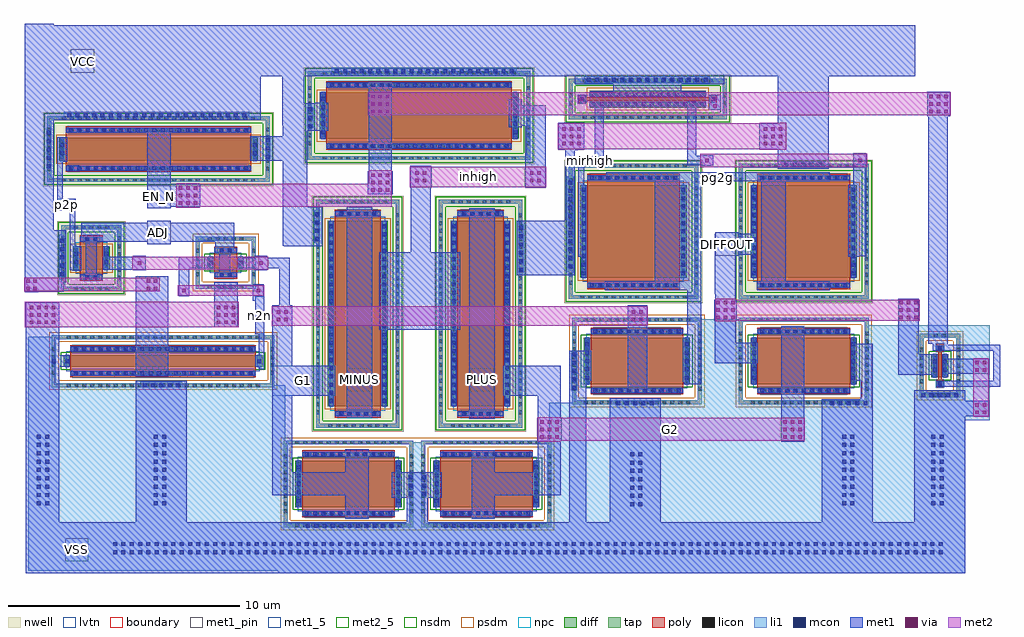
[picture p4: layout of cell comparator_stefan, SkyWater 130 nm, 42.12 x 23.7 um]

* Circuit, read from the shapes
.subckt comparator_stefan ADJ DIFFOUT EN_N G1 G2 MINUS PLUS VCC VSS inhigh mirhigh n2n p2p pg2g
XM1 n2n VCC VSS VSS sky130_fd_pr__nfet_01v8_lvt w=0.5 l=8
XM2 G1 ADJ n2n VSS sky130_fd_pr__nfet_01v8_lvt w=0.5 l=1
XM3 VSS G1 G1 VSS sky130_fd_pr__nfet_01v8_lvt w=2 l=4
XM4 G2 G2 VSS VSS sky130_fd_pr__nfet_01v8_lvt w=2 l=4
XM5 pg2g G1 VSS VSS sky130_fd_pr__nfet_01v8_lvt w=2 l=4
XM6 VSS G2 DIFFOUT VSS sky130_fd_pr__nfet_01v8_lvt w=2 l=4
XM7 VSS EN_N DIFFOUT VSS sky130_fd_pr__nfet_01v8 w=1 l=0.15
XM8 VCC EN_N p2p VCC sky130_fd_pr__pfet_01v8 w=1 l=8
XM9 G1 ADJ p2p VCC sky130_fd_pr__pfet_01v8_lvt w=1 l=1
XM10 inhigh EN_N VCC VCC sky130_fd_pr__pfet_01v8 w=2 l=8
XM11 inhigh MINUS G1 VCC sky130_fd_pr__pfet_01v8_lvt w=8 l=2
XM12 G2 PLUS inhigh VCC sky130_fd_pr__pfet_01v8_lvt w=8 l=2
XM13 pg2g pg2g mirhigh VCC sky130_fd_pr__pfet_01v8_lvt w=4 l=4
XM14 VCC EN_N mirhigh VCC sky130_fd_pr__pfet_01v8 w=5 l=0.15
XM15 mirhigh pg2g DIFFOUT VCC sky130_fd_pr__pfet_01v8_lvt w=4 l=4
.ends

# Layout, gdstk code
from math import pi, radians
import gdstk
lib = gdstk.Library(unit=1e-6, precision=1e-09)
def R(c, l, rs):  # rectangles x0, y0, x1, y1
    for r in rs: c.add(gdstk.rectangle(r[:2], r[2:], *l))
def A(c, l, x, y, w, h, nx, ny, dx, dy):  # array of equal rectangles
    R(c, l, [(x+i*dx, y+j*dy, x+i*dx+w, y+j*dy+h) for i in range(nx) for j in range(ny)])
nwell = (64, 20)
diff = (65, 20)
tap = (65, 44)
poly = (66, 20)
licon = (66, 44)
li1 = (67, 20)
mcon = (67, 44)
met1_5 = (68, 5)
met1_pin = (68, 16)
met1 = (68, 20)
via = (68, 44)
met2_5 = (69, 5)
met2 = (69, 20)
nsdm = (93, 44)
psdm = (94, 20)
npc = (95, 20)
lvtn = (125, 44)
boundary = (235, 4)

sky130_fd_pr__nfet_01v8_ = lib.new_cell('sky130_fd_pr__nfet_01v8_lvt_FMHZDY')
R(sky130_fd_pr__nfet_01v8_, diff, [(-4.29,-0.25,4.29,0.25)])
R(sky130_fd_pr__nfet_01v8_, tap, [(-4.8,-1.12,4.8,-0.95), (-4.8,-0.95,-4.63,0.95), (4.63,-0.95,4.8,0.95), (-4.8,0.95,4.8,1.12)])
R(sky130_fd_pr__nfet_01v8_, poly, [(-4,-0.69,4,0.69)])
A(sky130_fd_pr__nfet_01v8_, licon, -4.165, -1.12, 0.17, 0.17, 25, 2, 0.34, 2.07)
A(sky130_fd_pr__nfet_01v8_, licon, -3.825, -0.61, 0.17, 0.17, 23, 2, 0.34, 1.05)
A(sky130_fd_pr__nfet_01v8_, licon, -4.8, -0.595, 0.17, 0.17, 1, 4, 0, 0.34)
A(sky130_fd_pr__nfet_01v8_, licon, 4.63, -0.595, 0.17, 0.17, 1, 4, 0, 0.34)
R(sky130_fd_pr__nfet_01v8_, licon, [(-4.23,-0.085,-4.06,0.085), (4.06,-0.085,4.23,0.085)])
R(sky130_fd_pr__nfet_01v8_, li1, [(-4.8,-1.12,4.8,-0.95), (-4.8,-0.95,-4.63,0.95), (4.63,-0.95,4.8,0.95), (-4,-0.61,4,-0.44), (-4.23,-0.27,-4.06,0.27), (4.06,-0.27,4.23,0.27), (-4,0.44,4,0.61), (-4.8,0.95,4.8,1.12)])
A(sky130_fd_pr__nfet_01v8_, mcon, -3.865, -0.61, 0.17, 0.17, 22, 2, 0.36, 1.05)
R(sky130_fd_pr__nfet_01v8_, mcon, [(-4.23,-0.085,-4.06,0.085), (4.06,-0.085,4.23,0.085)])
R(sky130_fd_pr__nfet_01v8_, met1, [(-3.98,-0.64,3.98,-0.41), (-4.26,-0.25,-4.03,0.25), (4.03,-0.25,4.26,0.25), (-3.98,0.41,3.98,0.64)])
R(sky130_fd_pr__nfet_01v8_, nsdm, [(-4.415,-0.375,4.415,0.375)])
R(sky130_fd_pr__nfet_01v8_, psdm, [(-4.925,-1.245,4.925,-0.825), (-4.925,-0.825,-4.505,0.825), (4.505,-0.825,4.925,0.825), (-4.925,0.825,4.925,1.245)])
R(sky130_fd_pr__nfet_01v8_, npc, [(-3.925,-0.71,3.925,-0.34), (-3.925,0.34,3.925,0.71)])
R(sky130_fd_pr__nfet_01v8_, lvtn, [(-4.18,-0.43,4.18,0.43)])
R(sky130_fd_pr__nfet_01v8_, boundary, [(-4.71,-1.03,4.71,1.03)])

c_sky130_fd_pr__nfet_01v8_ = lib.new_cell('sky130_fd_pr__nfet_01v8_lvt_FMMQLY')
R(c_sky130_fd_pr__nfet_01v8_, diff, [(-0.79,-0.25,0.79,0.25)])
R(c_sky130_fd_pr__nfet_01v8_, tap, [(-1.3,-1.12,1.3,-0.95), (-1.3,-0.95,-1.13,0.95), (1.13,-0.95,1.3,0.95), (-1.3,0.95,1.3,1.12)])
R(c_sky130_fd_pr__nfet_01v8_, poly, [(-0.5,-0.69,0.5,0.69)])
A(c_sky130_fd_pr__nfet_01v8_, licon, -0.765, -1.12, 0.17, 0.17, 5, 2, 0.34, 2.07)
A(c_sky130_fd_pr__nfet_01v8_, licon, -1.3, -0.595, 0.17, 0.17, 1, 4, 0, 0.34)
A(c_sky130_fd_pr__nfet_01v8_, licon, 1.13, -0.595, 0.17, 0.17, 1, 4, 0, 0.34)
R(c_sky130_fd_pr__nfet_01v8_, licon, [(-0.255,-0.61,-0.085,-0.44), (0.085,-0.61,0.255,-0.44), (-0.73,-0.085,-0.56,0.085), (0.56,-0.085,0.73,0.085), (-0.255,0.44,-0.085,0.61), (0.085,0.44,0.255,0.61)])
R(c_sky130_fd_pr__nfet_01v8_, li1, [(-1.3,-1.12,1.3,-0.95), (-1.3,-0.95,-1.13,0.95), (1.13,-0.95,1.3,0.95), (-0.5,-0.61,0.5,-0.44), (-0.73,-0.27,-0.56,0.27), (0.56,-0.27,0.73,0.27), (-0.5,0.44,0.5,0.61), (-1.3,0.95,1.3,1.12)])
R(c_sky130_fd_pr__nfet_01v8_, mcon, [(-0.265,-0.61,-0.095,-0.44), (0.095,-0.61,0.265,-0.44), (-0.73,-0.085,-0.56,0.085), (0.56,-0.085,0.73,0.085), (-0.265,0.44,-0.095,0.61), (0.095,0.44,0.265,0.61)])
R(c_sky130_fd_pr__nfet_01v8_, met1, [(-0.48,-0.64,0.48,-0.41), (-0.76,-0.25,-0.53,0.25), (0.53,-0.25,0.76,0.25), (-0.48,0.41,0.48,0.64)])
R(c_sky130_fd_pr__nfet_01v8_, nsdm, [(-0.915,-0.375,0.915,0.375)])
R(c_sky130_fd_pr__nfet_01v8_, psdm, [(-1.425,-1.245,1.425,-0.825), (-1.425,-0.825,-1.005,0.825), (1.005,-0.825,1.425,0.825), (-1.425,0.825,1.425,1.245)])
R(c_sky130_fd_pr__nfet_01v8_, npc, [(-0.355,-0.71,0.355,-0.34), (-0.355,0.34,0.355,0.71)])
R(c_sky130_fd_pr__nfet_01v8_, lvtn, [(-0.68,-0.43,0.68,0.43)])
R(c_sky130_fd_pr__nfet_01v8_, boundary, [(-1.21,-1.03,1.21,1.03)])

sky130_fd_pr__pfet_01v8_ = lib.new_cell('sky130_fd_pr__pfet_01v8_lvt_3VR9VM')
R(sky130_fd_pr__pfet_01v8_, nwell, [(-1.48,-1.595,1.48,1.595)])
R(sky130_fd_pr__pfet_01v8_, diff, [(-0.79,-0.5,0.79,0.5)])
R(sky130_fd_pr__pfet_01v8_, tap, [(-1.3,-1.415,1.3,-1.245), (-1.3,-1.245,-1.13,1.245), (1.13,-1.245,1.3,1.245), (-1.3,1.245,1.3,1.415)])
R(sky130_fd_pr__pfet_01v8_, poly, [(-0.5,-0.985,0.5,0.985)])
A(sky130_fd_pr__pfet_01v8_, licon, -0.765, -1.415, 0.17, 0.17, 5, 2, 0.34, 2.66)
A(sky130_fd_pr__pfet_01v8_, licon, -1.3, -0.935, 0.17, 0.17, 1, 6, 0, 0.34)
A(sky130_fd_pr__pfet_01v8_, licon, 1.13, -0.935, 0.17, 0.17, 1, 6, 0, 0.34)
A(sky130_fd_pr__pfet_01v8_, licon, -0.73, -0.425, 0.17, 0.17, 1, 3, 0, 0.34)
A(sky130_fd_pr__pfet_01v8_, licon, 0.56, -0.425, 0.17, 0.17, 1, 3, 0, 0.34)
R(sky130_fd_pr__pfet_01v8_, licon, [(-0.255,-0.905,-0.085,-0.735), (0.085,-0.905,0.255,-0.735), (-0.255,0.735,-0.085,0.905), (0.085,0.735,0.255,0.905)])
R(sky130_fd_pr__pfet_01v8_, li1, [(-1.3,-1.415,1.3,-1.245), (-1.3,-1.245,-1.13,1.245), (1.13,-1.245,1.3,1.245), (-0.5,-0.905,0.5,-0.735), (-0.73,-0.52,-0.56,0.52), (0.56,-0.52,0.73,0.52), (-0.5,0.735,0.5,0.905), (-1.3,1.245,1.3,1.415)])
R(sky130_fd_pr__pfet_01v8_, mcon, [(-0.265,-0.905,-0.095,-0.735), (0.095,-0.905,0.265,-0.735), (-0.73,-0.265,-0.56,-0.095), (0.56,-0.265,0.73,-0.095), (-0.73,0.095,-0.56,0.265), (0.56,0.095,0.73,0.265), (-0.265,0.735,-0.095,0.905), (0.095,0.735,0.265,0.905)])
R(sky130_fd_pr__pfet_01v8_, met1, [(-0.48,-0.935,0.48,-0.705), (-0.76,-0.5,-0.53,0.5), (0.53,-0.5,0.76,0.5), (-0.48,0.705,0.48,0.935)])
R(sky130_fd_pr__pfet_01v8_, nsdm, [(-1.425,-1.54,1.425,-1.12), (-1.425,-1.12,-1.005,1.12), (1.005,-1.12,1.425,1.12), (-1.425,1.12,1.425,1.54)])
R(sky130_fd_pr__pfet_01v8_, psdm, [(-0.915,-0.625,0.915,0.625)])
R(sky130_fd_pr__pfet_01v8_, npc, [(-0.355,-1.005,0.355,-0.635), (-0.355,0.635,0.355,1.005)])
R(sky130_fd_pr__pfet_01v8_, lvtn, [(-0.68,-0.68,0.68,0.68)])
R(sky130_fd_pr__pfet_01v8_, boundary, [(-1.215,-1.33,1.215,1.33)])

c_sky130_fd_pr__pfet_01v8_ = lib.new_cell('sky130_fd_pr__pfet_01v8_GGMWVD')
R(c_sky130_fd_pr__pfet_01v8_, nwell, [(-4.98,-1.595,4.98,1.595)])
R(c_sky130_fd_pr__pfet_01v8_, diff, [(-4.29,-0.5,4.29,0.5)])
R(c_sky130_fd_pr__pfet_01v8_, tap, [(-4.8,-1.415,4.8,-1.245), (-4.8,-1.245,-4.63,1.245), (4.63,-1.245,4.8,1.245), (-4.8,1.245,4.8,1.415)])
R(c_sky130_fd_pr__pfet_01v8_, poly, [(-4,-0.985,4,0.985)])
A(c_sky130_fd_pr__pfet_01v8_, licon, -4.165, -1.415, 0.17, 0.17, 25, 2, 0.34, 2.66)
A(c_sky130_fd_pr__pfet_01v8_, licon, -4.8, -0.935, 0.17, 0.17, 1, 6, 0, 0.34)
A(c_sky130_fd_pr__pfet_01v8_, licon, 4.63, -0.935, 0.17, 0.17, 1, 6, 0, 0.34)
A(c_sky130_fd_pr__pfet_01v8_, licon, -3.825, -0.905, 0.17, 0.17, 23, 2, 0.34, 1.64)
A(c_sky130_fd_pr__pfet_01v8_, licon, -4.23, -0.425, 0.17, 0.17, 1, 3, 0, 0.34)
A(c_sky130_fd_pr__pfet_01v8_, licon, 4.06, -0.425, 0.17, 0.17, 1, 3, 0, 0.34)
R(c_sky130_fd_pr__pfet_01v8_, li1, [(-4.8,-1.415,4.8,-1.245), (-4.8,-1.245,-4.63,1.245), (4.63,-1.245,4.8,1.245), (-4,-0.905,4,-0.735), (-4.23,-0.52,-4.06,0.52), (4.06,-0.52,4.23,0.52), (-4,0.735,4,0.905), (-4.8,1.245,4.8,1.415)])
A(c_sky130_fd_pr__pfet_01v8_, mcon, -3.865, -0.905, 0.17, 0.17, 22, 2, 0.36, 1.64)
R(c_sky130_fd_pr__pfet_01v8_, mcon, [(-4.23,-0.265,-4.06,-0.095), (4.06,-0.265,4.23,-0.095), (-4.23,0.095,-4.06,0.265), (4.06,0.095,4.23,0.265)])
R(c_sky130_fd_pr__pfet_01v8_, met1, [(-3.98,-0.935,3.98,-0.705), (-4.26,-0.5,-4.03,0.5), (4.03,-0.5,4.26,0.5), (-3.98,0.705,3.98,0.935)])
R(c_sky130_fd_pr__pfet_01v8_, nsdm, [(-4.925,-1.54,4.925,-1.12), (-4.925,-1.12,-4.505,1.12), (4.505,-1.12,4.925,1.12), (-4.925,1.12,4.925,1.54)])
R(c_sky130_fd_pr__pfet_01v8_, psdm, [(-4.415,-0.625,4.415,0.625)])
R(c_sky130_fd_pr__pfet_01v8_, npc, [(-3.925,-1.005,3.925,-0.635), (-3.925,0.635,3.925,1.005)])
R(c_sky130_fd_pr__pfet_01v8_, boundary, [(-4.715,-1.33,4.715,1.33)])

c_sky130_fd_pr__nfet_01v8__ = lib.new_cell('sky130_fd_pr__nfet_01v8_648S5X')
R(c_sky130_fd_pr__nfet_01v8__, diff, [(-0.365,-0.5,0.365,0.5)])
R(c_sky130_fd_pr__nfet_01v8__, tap, [(-0.875,-1.37,0.875,-1.2), (-0.875,-1.2,-0.705,1.2), (0.705,-1.2,0.875,1.2), (-0.875,1.2,0.875,1.37)])
R(c_sky130_fd_pr__nfet_01v8__, poly, [(-0.165,-0.94,0.165,-0.61), (-0.075,-0.61,0.075,0.61), (-0.165,0.61,0.165,0.94)])
A(c_sky130_fd_pr__nfet_01v8__, licon, -0.875, -0.765, 0.17, 0.17, 1, 5, 0, 0.34)
A(c_sky130_fd_pr__nfet_01v8__, licon, 0.705, -0.765, 0.17, 0.17, 1, 5, 0, 0.34)
A(c_sky130_fd_pr__nfet_01v8__, licon, -0.305, -0.425, 0.17, 0.17, 1, 3, 0, 0.34)
A(c_sky130_fd_pr__nfet_01v8__, licon, 0.135, -0.425, 0.17, 0.17, 1, 3, 0, 0.34)
R(c_sky130_fd_pr__nfet_01v8__, licon, [(-0.255,-1.37,-0.085,-1.2), (0.085,-1.37,0.255,-1.2), (-0.085,-0.86,0.085,-0.69), (-0.085,0.69,0.085,0.86), (-0.255,1.2,-0.085,1.37), (0.085,1.2,0.255,1.37)])
R(c_sky130_fd_pr__nfet_01v8__, li1, [(-0.875,-1.37,0.875,-1.2), (-0.875,-1.2,-0.705,1.2), (0.705,-1.2,0.875,1.2), (-0.165,-0.86,0.165,-0.69), (-0.305,-0.52,-0.135,0.52), (0.135,-0.52,0.305,0.52), (-0.165,0.69,0.165,0.86), (-0.875,1.2,0.875,1.37)])
R(c_sky130_fd_pr__nfet_01v8__, mcon, [(-0.085,-0.86,0.085,-0.69), (-0.305,-0.265,-0.135,-0.095), (0.135,-0.265,0.305,-0.095), (-0.305,0.095,-0.135,0.265), (0.135,0.095,0.305,0.265), (-0.085,0.69,0.085,0.86)])
R(c_sky130_fd_pr__nfet_01v8__, met1, [(-0.145,-0.89,0.145,-0.66), (-0.335,-0.5,-0.105,0.5), (0.105,-0.5,0.335,0.5), (-0.145,0.66,0.145,0.89)])
R(c_sky130_fd_pr__nfet_01v8__, nsdm, [(-0.49,-0.625,0.49,0.625)])
R(c_sky130_fd_pr__nfet_01v8__, psdm, [(-1,-1.495,1,-1.075), (-1,-1.075,-0.58,1.075), (0.58,-1.075,1,1.075), (-1,1.075,1,1.495)])
R(c_sky130_fd_pr__nfet_01v8__, npc, [(-0.185,-0.96,0.185,-0.59), (-0.185,0.59,0.185,0.96)])
R(c_sky130_fd_pr__nfet_01v8__, boundary, [(-0.79,-1.285,0.79,1.285)])

c_sky130_fd_pr__nfet_01v8___ = lib.new_cell('sky130_fd_pr__nfet_01v8_lvt_FMZK9W')
R(c_sky130_fd_pr__nfet_01v8___, diff, [(-2.29,-1,2.29,1)])
R(c_sky130_fd_pr__nfet_01v8___, tap, [(-2.8,-1.87,2.8,-1.7), (-2.8,-1.7,-2.63,1.7), (2.63,-1.7,2.8,1.7), (-2.8,1.7,2.8,1.87)])
R(c_sky130_fd_pr__nfet_01v8___, poly, [(-2,-1.44,2,1.44)])
A(c_sky130_fd_pr__nfet_01v8___, licon, -2.295, -1.87, 0.17, 0.17, 14, 2, 0.34, 3.57)
A(c_sky130_fd_pr__nfet_01v8___, licon, -1.785, -1.36, 0.17, 0.17, 11, 2, 0.34, 2.55)
A(c_sky130_fd_pr__nfet_01v8___, licon, -2.8, -1.275, 0.17, 0.17, 1, 8, 0, 0.34)
A(c_sky130_fd_pr__nfet_01v8___, licon, 2.63, -1.275, 0.17, 0.17, 1, 8, 0, 0.34)
A(c_sky130_fd_pr__nfet_01v8___, licon, -2.23, -0.935, 0.17, 0.17, 1, 6, 0, 0.34)
A(c_sky130_fd_pr__nfet_01v8___, licon, 2.06, -0.935, 0.17, 0.17, 1, 6, 0, 0.34)
R(c_sky130_fd_pr__nfet_01v8___, li1, [(-2.8,-1.87,2.8,-1.7), (-2.8,-1.7,-2.63,1.7), (2.63,-1.7,2.8,1.7), (-2,-1.36,2,-1.19), (-2.23,-1.02,-2.06,1.02), (2.06,-1.02,2.23,1.02), (-2,1.19,2,1.36), (-2.8,1.7,2.8,1.87)])
A(c_sky130_fd_pr__nfet_01v8___, mcon, -1.885, -1.36, 0.17, 0.17, 11, 2, 0.36, 2.55)
A(c_sky130_fd_pr__nfet_01v8___, mcon, -2.23, -0.805, 0.17, 0.17, 1, 5, 0, 0.36)
A(c_sky130_fd_pr__nfet_01v8___, mcon, 2.06, -0.805, 0.17, 0.17, 1, 5, 0, 0.36)
R(c_sky130_fd_pr__nfet_01v8___, met1, [(-1.98,-1.39,1.98,-1.16), (-2.26,-1,-2.03,1), (2.03,-1,2.26,1), (-1.98,1.16,1.98,1.39)])
R(c_sky130_fd_pr__nfet_01v8___, nsdm, [(-2.415,-1.125,2.415,1.125)])
R(c_sky130_fd_pr__nfet_01v8___, psdm, [(-2.925,-1.995,2.925,-1.575), (-2.925,-1.575,-2.505,1.575), (2.505,-1.575,2.925,1.575), (-2.925,1.575,2.925,1.995)])
R(c_sky130_fd_pr__nfet_01v8___, npc, [(-1.885,-1.46,1.885,-1.09), (-1.885,1.09,1.885,1.46)])
R(c_sky130_fd_pr__nfet_01v8___, lvtn, [(-2.18,-1.18,2.18,1.18)])
R(c_sky130_fd_pr__nfet_01v8___, boundary, [(-2.71,-1.78,2.71,1.78)])

c_sky130_fd_pr__pfet_01v8__ = lib.new_cell('sky130_fd_pr__pfet_01v8_UGSVTG')
R(c_sky130_fd_pr__pfet_01v8__, nwell, [(-1.055,-3.595,1.055,3.595)])
R(c_sky130_fd_pr__pfet_01v8__, diff, [(-0.365,-2.5,0.365,2.5)])
R(c_sky130_fd_pr__pfet_01v8__, tap, [(-0.875,-3.415,0.875,-3.245), (-0.875,-3.245,-0.705,3.245), (0.705,-3.245,0.875,3.245), (-0.875,3.245,0.875,3.415)])
R(c_sky130_fd_pr__pfet_01v8__, poly, [(-0.165,-2.985,0.165,-2.655), (-0.075,-2.655,0.075,2.655), (-0.165,2.655,0.165,2.985)])
A(c_sky130_fd_pr__pfet_01v8__, licon, -0.875, -2.805, 0.17, 0.17, 1, 17, 0, 0.34)
A(c_sky130_fd_pr__pfet_01v8__, licon, 0.705, -2.805, 0.17, 0.17, 1, 17, 0, 0.34)
A(c_sky130_fd_pr__pfet_01v8__, licon, -0.305, -2.295, 0.17, 0.17, 1, 14, 0, 0.34)
A(c_sky130_fd_pr__pfet_01v8__, licon, 0.135, -2.295, 0.17, 0.17, 1, 14, 0, 0.34)
R(c_sky130_fd_pr__pfet_01v8__, licon, [(-0.255,-3.415,-0.085,-3.245), (0.085,-3.415,0.255,-3.245), (-0.085,-2.905,0.085,-2.735), (-0.085,2.735,0.085,2.905), (-0.255,3.245,-0.085,3.415), (0.085,3.245,0.255,3.415)])
R(c_sky130_fd_pr__pfet_01v8__, li1, [(-0.875,-3.415,0.875,-3.245), (-0.875,-3.245,-0.705,3.245), (0.705,-3.245,0.875,3.245), (-0.165,-2.905,0.165,-2.735), (-0.305,-2.52,-0.135,2.52), (0.135,-2.52,0.305,2.52), (-0.165,2.735,0.165,2.905), (-0.875,3.245,0.875,3.415)])
A(c_sky130_fd_pr__pfet_01v8__, mcon, -0.305, -2.425, 0.17, 0.17, 1, 14, 0, 0.36)
A(c_sky130_fd_pr__pfet_01v8__, mcon, 0.135, -2.425, 0.17, 0.17, 1, 14, 0, 0.36)
R(c_sky130_fd_pr__pfet_01v8__, mcon, [(-0.085,-2.905,0.085,-2.735), (-0.085,2.735,0.085,2.905)])
R(c_sky130_fd_pr__pfet_01v8__, met1, [(-0.145,-2.935,0.145,-2.705), (-0.335,-2.5,-0.105,2.5), (0.105,-2.5,0.335,2.5), (-0.145,2.705,0.145,2.935)])
R(c_sky130_fd_pr__pfet_01v8__, nsdm, [(-1,-3.54,1,-3.12), (-1,-3.12,-0.58,3.12), (0.58,-3.12,1,3.12), (-1,3.12,1,3.54)])
R(c_sky130_fd_pr__pfet_01v8__, psdm, [(-0.49,-2.625,0.49,2.625)])
R(c_sky130_fd_pr__pfet_01v8__, npc, [(-0.185,-3.005,0.185,-2.635), (-0.185,2.635,0.185,3.005)])
R(c_sky130_fd_pr__pfet_01v8__, boundary, [(-0.79,-3.33,0.79,3.33)])

c_sky130_fd_pr__pfet_01v8___ = lib.new_cell('sky130_fd_pr__pfet_01v8_lvt_ZQZ9VD')
R(c_sky130_fd_pr__pfet_01v8___, nwell, [(-2.98,-3.095,2.98,3.095)])
R(c_sky130_fd_pr__pfet_01v8___, diff, [(-2.29,-2,2.29,2)])
R(c_sky130_fd_pr__pfet_01v8___, tap, [(-2.8,-2.915,2.8,-2.745), (-2.8,-2.745,-2.63,2.745), (2.63,-2.745,2.8,2.745), (-2.8,2.745,2.8,2.915)])
R(c_sky130_fd_pr__pfet_01v8___, poly, [(-2,-2.485,2,2.485)])
A(c_sky130_fd_pr__pfet_01v8___, licon, -2.295, -2.915, 0.17, 0.17, 14, 2, 0.34, 5.66)
A(c_sky130_fd_pr__pfet_01v8___, licon, -1.785, -2.405, 0.17, 0.17, 11, 2, 0.34, 4.64)
A(c_sky130_fd_pr__pfet_01v8___, licon, -2.8, -2.295, 0.17, 0.17, 1, 14, 0, 0.34)
A(c_sky130_fd_pr__pfet_01v8___, licon, 2.63, -2.295, 0.17, 0.17, 1, 14, 0, 0.34)
A(c_sky130_fd_pr__pfet_01v8___, licon, -2.23, -1.785, 0.17, 0.17, 1, 11, 0, 0.34)
A(c_sky130_fd_pr__pfet_01v8___, licon, 2.06, -1.785, 0.17, 0.17, 1, 11, 0, 0.34)
R(c_sky130_fd_pr__pfet_01v8___, li1, [(-2.8,-2.915,2.8,-2.745), (-2.8,-2.745,-2.63,2.745), (2.63,-2.745,2.8,2.745), (-2,-2.405,2,-2.235), (-2.23,-2.02,-2.06,2.02), (2.06,-2.02,2.23,2.02), (-2,2.235,2,2.405), (-2.8,2.745,2.8,2.915)])
A(c_sky130_fd_pr__pfet_01v8___, mcon, -1.885, -2.405, 0.17, 0.17, 11, 2, 0.36, 4.64)
A(c_sky130_fd_pr__pfet_01v8___, mcon, -2.23, -1.885, 0.17, 0.17, 1, 11, 0, 0.36)
A(c_sky130_fd_pr__pfet_01v8___, mcon, 2.06, -1.885, 0.17, 0.17, 1, 11, 0, 0.36)
R(c_sky130_fd_pr__pfet_01v8___, met1, [(-1.98,-2.435,1.98,-2.205), (-2.26,-2,-2.03,2), (2.03,-2,2.26,2), (-1.98,2.205,1.98,2.435)])
R(c_sky130_fd_pr__pfet_01v8___, nsdm, [(-2.925,-3.04,2.925,-2.62), (-2.925,-2.62,-2.505,2.62), (2.505,-2.62,2.925,2.62), (-2.925,2.62,2.925,3.04)])
R(c_sky130_fd_pr__pfet_01v8___, psdm, [(-2.415,-2.125,2.415,2.125)])
R(c_sky130_fd_pr__pfet_01v8___, npc, [(-1.885,-2.505,1.885,-2.135), (-1.885,2.135,1.885,2.505)])
R(c_sky130_fd_pr__pfet_01v8___, lvtn, [(-2.18,-2.18,2.18,2.18)])
R(c_sky130_fd_pr__pfet_01v8___, boundary, [(-2.715,-2.83,2.715,2.83)])

c_sky130_fd_pr__pfet_01v8____ = lib.new_cell('sky130_fd_pr__pfet_01v8_lvt_GWPMZG')
R(c_sky130_fd_pr__pfet_01v8____, nwell, [(-1.98,-5.095,1.98,5.095)])
R(c_sky130_fd_pr__pfet_01v8____, diff, [(-1.29,-4,1.29,4)])
R(c_sky130_fd_pr__pfet_01v8____, tap, [(-1.8,-4.915,1.8,-4.745), (-1.8,-4.745,-1.63,4.745), (1.63,-4.745,1.8,4.745), (-1.8,4.745,1.8,4.915)])
R(c_sky130_fd_pr__pfet_01v8____, poly, [(-1,-4.485,1,4.485)])
A(c_sky130_fd_pr__pfet_01v8____, licon, -1.275, -4.915, 0.17, 0.17, 8, 2, 0.34, 9.66)
A(c_sky130_fd_pr__pfet_01v8____, licon, -0.765, -4.405, 0.17, 0.17, 5, 2, 0.34, 8.64)
A(c_sky130_fd_pr__pfet_01v8____, licon, -1.8, -4.335, 0.17, 0.17, 1, 26, 0, 0.34)
A(c_sky130_fd_pr__pfet_01v8____, licon, 1.63, -4.335, 0.17, 0.17, 1, 26, 0, 0.34)
A(c_sky130_fd_pr__pfet_01v8____, licon, -1.23, -3.825, 0.17, 0.17, 1, 23, 0, 0.34)
A(c_sky130_fd_pr__pfet_01v8____, licon, 1.06, -3.825, 0.17, 0.17, 1, 23, 0, 0.34)
R(c_sky130_fd_pr__pfet_01v8____, li1, [(-1.8,-4.915,1.8,-4.745), (-1.8,-4.745,-1.63,4.745), (1.63,-4.745,1.8,4.745), (-1,-4.405,1,-4.235), (-1.23,-4.02,-1.06,4.02), (1.06,-4.02,1.23,4.02), (-1,4.235,1,4.405), (-1.8,4.745,1.8,4.915)])
A(c_sky130_fd_pr__pfet_01v8____, mcon, -0.805, -4.405, 0.17, 0.17, 5, 2, 0.36, 8.64)
A(c_sky130_fd_pr__pfet_01v8____, mcon, -1.23, -3.865, 0.17, 0.17, 1, 22, 0, 0.36)
A(c_sky130_fd_pr__pfet_01v8____, mcon, 1.06, -3.865, 0.17, 0.17, 1, 22, 0, 0.36)
R(c_sky130_fd_pr__pfet_01v8____, met1, [(-0.98,-4.435,0.98,-4.205), (-1.26,-4,-1.03,4), (1.03,-4,1.26,4), (-0.98,4.205,0.98,4.435)])
R(c_sky130_fd_pr__pfet_01v8____, nsdm, [(-1.925,-5.04,1.925,-4.62), (-1.925,-4.62,-1.505,4.62), (1.505,-4.62,1.925,4.62), (-1.925,4.62,1.925,5.04)])
R(c_sky130_fd_pr__pfet_01v8____, psdm, [(-1.415,-4.125,1.415,4.125)])
R(c_sky130_fd_pr__pfet_01v8____, npc, [(-0.865,-4.505,0.865,-4.135), (-0.865,4.135,0.865,4.505)])
R(c_sky130_fd_pr__pfet_01v8____, lvtn, [(-1.18,-4.18,1.18,4.18)])
R(c_sky130_fd_pr__pfet_01v8____, boundary, [(-1.715,-4.83,1.715,4.83)])

c_sky130_fd_pr__pfet_01v8_____ = lib.new_cell('sky130_fd_pr__pfet_01v8_GGY9VD')
R(c_sky130_fd_pr__pfet_01v8_____, nwell, [(-4.98,-2.095,4.98,2.095)])
R(c_sky130_fd_pr__pfet_01v8_____, diff, [(-4.29,-1,4.29,1)])
R(c_sky130_fd_pr__pfet_01v8_____, tap, [(-4.8,-1.915,4.8,-1.745), (-4.8,-1.745,-4.63,1.745), (4.63,-1.745,4.8,1.745), (-4.8,1.745,4.8,1.915)])
R(c_sky130_fd_pr__pfet_01v8_____, poly, [(-4,-1.485,4,1.485)])
A(c_sky130_fd_pr__pfet_01v8_____, licon, -4.165, -1.915, 0.17, 0.17, 25, 2, 0.34, 3.66)
A(c_sky130_fd_pr__pfet_01v8_____, licon, -3.825, -1.405, 0.17, 0.17, 23, 2, 0.34, 2.64)
A(c_sky130_fd_pr__pfet_01v8_____, licon, -4.8, -1.275, 0.17, 0.17, 1, 8, 0, 0.34)
A(c_sky130_fd_pr__pfet_01v8_____, licon, 4.63, -1.275, 0.17, 0.17, 1, 8, 0, 0.34)
A(c_sky130_fd_pr__pfet_01v8_____, licon, -4.23, -0.935, 0.17, 0.17, 1, 6, 0, 0.34)
A(c_sky130_fd_pr__pfet_01v8_____, licon, 4.06, -0.935, 0.17, 0.17, 1, 6, 0, 0.34)
R(c_sky130_fd_pr__pfet_01v8_____, li1, [(-4.8,-1.915,4.8,-1.745), (-4.8,-1.745,-4.63,1.745), (4.63,-1.745,4.8,1.745), (-4,-1.405,4,-1.235), (-4.23,-1.02,-4.06,1.02), (4.06,-1.02,4.23,1.02), (-4,1.235,4,1.405), (-4.8,1.745,4.8,1.915)])
A(c_sky130_fd_pr__pfet_01v8_____, mcon, -3.865, -1.405, 0.17, 0.17, 22, 2, 0.36, 2.64)
A(c_sky130_fd_pr__pfet_01v8_____, mcon, -4.23, -0.805, 0.17, 0.17, 1, 5, 0, 0.36)
A(c_sky130_fd_pr__pfet_01v8_____, mcon, 4.06, -0.805, 0.17, 0.17, 1, 5, 0, 0.36)
R(c_sky130_fd_pr__pfet_01v8_____, met1, [(-3.98,-1.435,3.98,-1.205), (-4.26,-1,-4.03,1), (4.03,-1,4.26,1), (-3.98,1.205,3.98,1.435)])
R(c_sky130_fd_pr__pfet_01v8_____, nsdm, [(-4.925,-2.04,4.925,-1.62), (-4.925,-1.62,-4.505,1.62), (4.505,-1.62,4.925,1.62), (-4.925,1.62,4.925,2.04)])
R(c_sky130_fd_pr__pfet_01v8_____, psdm, [(-4.415,-1.125,4.415,1.125)])
R(c_sky130_fd_pr__pfet_01v8_____, npc, [(-3.925,-1.505,3.925,-1.135), (-3.925,1.135,3.925,1.505)])
R(c_sky130_fd_pr__pfet_01v8_____, boundary, [(-4.715,-1.83,4.715,1.83)])

comparator_stefan = lib.new_cell('comparator_stefan')
R(comparator_stefan, li1, [(58.2,29.95,87.85,30.05), (47.4,30.05,87.85,32), (47.4,32,58.5,38.05), (59.25,32,63.3,32.1), (63.9,32,64.5,33.25), (65.2,32,69.25,32.1), (69.9,32,87.85,36.55), (63.8,33.25,64.6,34.2), (63.9,34.2,64.5,35.6), (69.9,36.55,88.9,37.3), (72.65,37.3,74.55,37.4), (76.4,37.3,78.15,40.9), (81.95,37.3,88.9,37.4), (83.6,37.4,88.9,37.75), (83.6,37.75,85.95,40.15), (87.55,37.75,88.9,40.15), (70.85,37.85,71.1,39.5), (47.4,38.05,48.6,40.15), (52.25,38.05,54.05,38.2), (83.6,40.15,88.9,40.65), (55.55,42.2,56.35,42.4), (48.75,42.6,49,44.55), (68.55,42.9,68.8,45), (70.65,42.95,70.95,47.05), (59.75,44.2,60,45.6), (48.2,47.25,48.4,49.2), (79.9,47.45,81.8,47.7), (57.65,47.8,57.85,48.75), (59.45,49.15,59.7,50.05), (48.95,49.55,56.95,49.85), (71.4,51.1,76.85,51.4), (60.5,51.45,68.5,51.75)])
A(comparator_stefan, mcon, 51.07, 30.76, 0.17, 0.17, 100, 2, 0.36, 0.36)
A(comparator_stefan, mcon, 59.39, 31.915, 0.17, 0.17, 11, 1, 0.36, 0)
A(comparator_stefan, mcon, 65.34, 31.915, 0.17, 0.17, 11, 1, 0.36, 0)
A(comparator_stefan, mcon, 73.385, 32.835, 0.17, 0.17, 1, 7, 0, 0.36)
A(comparator_stefan, mcon, 73.745, 32.835, 0.17, 0.17, 1, 7, 0, 0.36)
A(comparator_stefan, mcon, 47.785, 32.875, 0.17, 0.17, 1, 9, 0, 0.36)
A(comparator_stefan, mcon, 48.145, 32.875, 0.17, 0.17, 1, 9, 0, 0.36)
A(comparator_stefan, mcon, 52.835, 32.875, 0.17, 0.17, 1, 9, 0, 0.36)
A(comparator_stefan, mcon, 53.195, 32.875, 0.17, 0.17, 1, 9, 0, 0.36)
A(comparator_stefan, mcon, 82.535, 32.875, 0.17, 0.17, 1, 9, 0, 0.36)
A(comparator_stefan, mcon, 82.895, 32.875, 0.17, 0.17, 1, 9, 0, 0.36)
A(comparator_stefan, mcon, 86.385, 32.875, 0.17, 0.17, 1, 9, 0, 0.36)
A(comparator_stefan, mcon, 86.745, 32.875, 0.17, 0.17, 1, 9, 0, 0.36)
A(comparator_stefan, mcon, 63.84, 33.28, 0.17, 0.17, 1, 3, 0, 0.36)
A(comparator_stefan, mcon, 64.39, 33.28, 0.17, 0.17, 1, 3, 0, 0.36)
A(comparator_stefan, mcon, 72.795, 37.19, 0.17, 0.17, 5, 1, 0.36, 0)
A(comparator_stefan, mcon, 82.02, 37.19, 0.17, 0.17, 5, 1, 0.36, 0)
A(comparator_stefan, mcon, 85.945, 37.54, 0.17, 0.17, 5, 1, 0.36, 0)
A(comparator_stefan, mcon, 70.89, 37.87, 0.17, 0.17, 1, 5, 0, 0.36)
A(comparator_stefan, mcon, 52.345, 37.965, 0.17, 0.17, 5, 1, 0.36, 0)
A(comparator_stefan, mcon, 48.79, 42.77, 0.17, 0.17, 1, 5, 0, 0.36)
A(comparator_stefan, mcon, 68.59, 42.965, 0.17, 0.17, 1, 6, 0, 0.36)
A(comparator_stefan, mcon, 70.715, 43.115, 0.17, 0.17, 1, 11, 0, 0.36)
A(comparator_stefan, mcon, 59.79, 44.275, 0.17, 0.17, 1, 4, 0, 0.36)
A(comparator_stefan, mcon, 48.215, 47.42, 0.17, 0.17, 1, 5, 0, 0.36)
A(comparator_stefan, mcon, 80.045, 47.49, 0.17, 0.17, 5, 1, 0.36, 0)
A(comparator_stefan, mcon, 57.665, 47.83, 0.17, 0.17, 1, 3, 0, 0.36)
A(comparator_stefan, mcon, 59.49, 49.155, 0.17, 0.17, 1, 3, 0, 0.36)
A(comparator_stefan, mcon, 49.085, 49.615, 0.17, 0.17, 22, 1, 0.36, 0)
A(comparator_stefan, mcon, 71.52, 51.165, 0.17, 0.17, 15, 1, 0.36, 0)
A(comparator_stefan, mcon, 60.635, 51.515, 0.17, 0.17, 22, 1, 0.36, 0)
R(comparator_stefan, mcon, [(48.415,39.015,48.585,39.185), (55.685,42.215,55.855,42.385), (56.045,42.215,56.215,42.385)])
R(comparator_stefan, met1_5, [(57.95,37.6,60.65,38.9), (57.2,40.25,57.6,41.9), (48.65,45.6,49.45,46.1), (76.65,46.9,77.7,47.15), (71.15,47.535,72.245,47.95)])
R(comparator_stefan, met1_pin, [(49,30.45,50,31.45), (61.2,37.8,62.2,38.8), (66.5,37.8,67.5,38.8), (77.055,43.65,78.055,44.65), (52.55,44.15,53.55,45.15), (52.55,45.7,53.55,46.7), (49.25,51.55,50.25,52.55)])
R(comparator_stefan, met1, [(47.3,29.95,87.85,32.15), (47.3,32.15,48.75,38.85), (52.05,32.15,54.25,38.25), (63.75,32.15,64.65,33.2), (70.75,32.15,71.5,38.1), (72.5,32.15,74.7,37.5), (81.65,32.15,83.85,37.45), (85.65,32.15,87.85,36.72), (61.1,32.3,62.1,33.3), (66.55,32.3,67.55,33.3), (63.1,33.2,65.25,34.3), (57.95,33.3,62.1,34.3), (66.55,33.3,70.4,34.3), (57.95,34.3,58.8,37.6), (61.1,34.3,62.1,35.3), (66.55,34.3,67.55,35.25), (69.4,34.3,70.4,35.65), (79.9,35.62,80.9,40.6), (69.37,35.65,70.43,36.65), (66.45,36.6,67.55,45.7), (61.15,36.65,62.25,45.75), (69.4,36.65,70.4,37.6), (85.65,36.72,88.885,37.38), (85.65,37.38,87.85,37.85), (83.35,37.45,83.85,38.25), (57.95,37.6,60.65,38.9), (67.9,37.6,70.4,38.9), (73.275,37.75,74.125,41.505), (86.6,38,89.35,38.25), (70.75,38.1,71.65,38.25), (75.755,38.105,76.445,38.2), (75.65,38.2,76.445,40.1), (70.75,38.25,71.7,39.55), (82.9,38.25,83.85,39.85), (89.05,38.25,89.35,39.55), (52.05,38.45,53.45,42.75), (84.95,38.5,86.65,39.4), (86.9,38.55,88.88,39.2), (57.35,38.75,57.6,38.85), (47.3,38.85,49.2,39.35), (57.2,38.85,57.6,39.35), (57.95,38.9,58.8,41.505), (77.045,38.995,77.955,39), (77.045,39,78.9,39.9), (47.3,39.35,48.75,41.63), (57.35,39.35,57.6,40.25), (84.95,39.4,85.85,41.78), (86.445,39.545,86.955,39.55), (86.445,39.55,89.35,39.8), (86.445,39.8,89.335,39.805), (86.445,39.805,87.1,39.85), (86.25,39.85,87.1,49.67), (77.045,39.9,77.955,40.85), (75.85,40.1,76.445,42.15), (57.2,40.25,57.6,41.7), (62.55,40.45,66.05,43.8), (55.445,40.56,56.455,42.505), (77.02,40.85,77.98,41.75), (58.25,41.505,58.7,43.1), (57.1,41.7,57.6,41.9), (77.05,41.75,77.95,42), (53.9,41.895,54.35,43.1), (57.1,41.9,57.575,42.4), (77.045,42,77.955,43.65), (47.255,42.075,47.845,42.1), (47.25,42.1,48.95,42.5), (72.3,42.15,76.445,42.55), (78.85,42.15,82,42.55), (57.125,42.4,57.575,42.405), (47.25,42.5,49.05,44.75), (74.45,42.55,76.445,46.85), (79.05,42.55,80.1,46.85), (49.9,42.6,50.37,44.245), (55.66,42.715,56.13,43.745), (68.5,42.8,71,43.985), (49.3,43,49.7,43.01), (49.2,43.01,49.7,44.05), (51.925,43.02,52.48,43.05), (57.175,43.02,57.73,43.1), (50.625,43.05,52.48,43.605), (53.9,43.1,55.4,43.6), (56.45,43.1,58.7,43.55), (57.175,43.55,57.73,43.635), (71.15,43.6,71.4,47.535), (82.8,43.6,83.25,43.615), (51.925,43.605,52.48,43.635), (82.8,43.615,83.585,46.7), (77.045,43.65,78.055,43.695), (77.045,43.695,78.85,44.605), (55.49,43.745,56.305,44.245), (63.92,43.8,64.785,46.575), (68.485,43.985,71,44.515), (49.2,44.05,49.445,45.6), (58.45,44.05,60.1,44.075), (58.4,44.075,60.1,45.75), (52.55,44.15,53.55,44.245), (49.695,44.245,56.305,45.06), (68.5,44.515,71,45.15), (77.05,44.605,78.055,44.65), (47.25,44.75,48.5,49.5), (52.55,45.06,53.55,45.15), (70.585,45.15,71,48.2), (48.65,45.6,49.45,46.1), (52.55,45.7,53.55,45.75), (52.55,45.75,54.83,46.75), (58.4,45.75,59.45,47.75), (48.65,46.1,48.9,47.7), (62.07,46.3,63.13,47.3), (63.905,46.575,64.795,47.525), (68.855,46.575,69.745,49.25), (83.015,46.7,83.585,48.075), (52.55,46.75,53.55,49.15), (72.35,46.85,82,47.25), (49.1,47.3,49.6,47.55), (62.1,47.3,63.1,51.15), (79.75,47.4,81.95,48.24), (76.44,47.525,76.965,47.55), (71.15,47.535,72.245,47.95), (75.85,47.55,76.965,47.965), (48.65,47.7,49.1,48.75), (57,47.75,59.45,48.8), (71.86,47.95,72.245,50.3), (75.85,47.965,76.235,50.315), (76.44,47.965,76.965,47.99), (70.585,48.2,71.115,48.21), (70.29,48.21,71.415,49.395), (78.96,48.24,81.95,49.365), (58.4,48.8,59.45,49.05), (58.4,49.05,60.35,49.275), (68.15,49.2,68.7,49.25), (68.15,49.25,69.75,50.15), (58.375,49.275,60.35,50.225), (79.75,49.365,81.95,51.4), (47.25,49.5,57.45,51.4), (86.2,49.67,87.2,50.73), (76.8,49.95,77.3,50.6), (68.15,50.15,68.7,50.4), (71.13,50.205,71.465,50.6), (58.375,50.225,59.325,51.4), (59.8,50.225,60.35,50.25), (72.65,50.55,75.6,51.05), (71,51.05,77.45,51.4), (47.25,51.4,85.7,53.6), (47.25,53.6,48.5,53.65)])
A(comparator_stefan, via, 69.505, 35.755, 0.15, 0.15, 3, 3, 0.32, 0.32)
A(comparator_stefan, via, 80.005, 35.755, 0.15, 0.15, 3, 3, 0.32, 0.32)
A(comparator_stefan, via, 47.47, 40.7, 0.15, 0.15, 4, 3, 0.32, 0.32)
A(comparator_stefan, via, 55.555, 40.7, 0.15, 0.15, 3, 3, 0.32, 0.32)
A(comparator_stefan, via, 77.105, 40.905, 0.15, 0.15, 3, 3, 0.32, 0.32)
A(comparator_stefan, via, 85.005, 40.905, 0.15, 0.15, 3, 3, 0.32, 0.32)
A(comparator_stefan, via, 53.905, 45.855, 0.15, 0.15, 3, 3, 0.32, 0.32)
A(comparator_stefan, via, 62.205, 46.405, 0.15, 0.15, 3, 3, 0.32, 0.32)
A(comparator_stefan, via, 70.455, 48.405, 0.15, 0.15, 3, 3, 0.32, 0.32)
A(comparator_stefan, via, 79.155, 48.405, 0.15, 0.15, 3, 3, 0.32, 0.32)
A(comparator_stefan, via, 62.205, 49.805, 0.15, 0.15, 3, 3, 0.32, 0.32)
A(comparator_stefan, via, 86.305, 49.805, 0.15, 0.15, 3, 3, 0.32, 0.32)
R(comparator_stefan, via, [(88.29,36.815,88.44,36.965), (88.61,36.815,88.76,36.965), (88.29,37.135,88.44,37.285), (88.61,37.135,88.76,37.285), (88.29,38.64,88.44,38.79), (88.61,38.64,88.76,38.79), (88.29,38.96,88.44,39.11), (88.61,38.96,88.76,39.11), (58.14,40.815,58.29,40.965), (58.46,40.815,58.61,40.965), (73.465,40.815,73.615,40.965), (73.785,40.815,73.935,40.965), (58.14,41.135,58.29,41.285), (58.46,41.135,58.61,41.285), (73.465,41.135,73.615,41.285), (73.785,41.135,73.935,41.285), (54.05,42.075,54.2,42.225), (57.275,42.075,57.425,42.225), (47.315,42.165,47.465,42.315), (47.635,42.165,47.785,42.315), (52.515,42.165,52.665,42.315), (52.835,42.165,52.985,42.315), (47.315,42.485,47.465,42.635), (47.635,42.485,47.785,42.635), (52.515,42.485,52.665,42.635), (52.835,42.485,52.985,42.635), (52.125,43.25,52.275,43.4), (57.375,43.25,57.525,43.4), (64.115,46.815,64.265,46.965), (64.435,46.815,64.585,46.965), (69.065,46.815,69.215,46.965), (69.385,46.815,69.535,46.965), (64.115,47.135,64.265,47.285), (64.435,47.135,64.585,47.285), (69.065,47.135,69.215,47.285), (69.385,47.135,69.535,47.285), (76.625,47.68,76.775,47.83), (83.225,47.68,83.375,47.83), (76.975,50.04,77.125,50.19), (71.22,50.325,71.37,50.475), (76.975,50.36,77.125,50.51)])
R(comparator_stefan, met2_5, [(70.4,35.65,79.9,36.65), (64.795,46.605,68.855,47.495)])
R(comparator_stefan, met2, [(69.4,35.62,70.4,35.65), (69.4,35.65,80.93,36.65), (69.4,36.65,70.4,36.68), (88.195,36.69,88.855,39.205), (88.2,39.205,88.85,39.23), (47.25,40.55,56.5,41.65), (57.92,40.625,74.155,41.475), (77.05,40.82,77.95,40.85), (77.05,40.85,85.88,41.75), (77.05,41.75,77.95,41.78), (53.87,41.925,57.605,42.375), (47.225,42.105,53.075,42.695), (51.895,43.05,57.76,43.605), (53.8,45.72,54.8,45.75), (53.8,45.75,63.1,46.75), (63.875,46.605,69.775,47.495), (53.8,46.75,54.8,46.78), (62.1,46.75,63.1,47.33), (76.415,47.47,83.615,48.045), (78.99,48.21,80.115,48.24), (70.26,48.24,80.115,49.365), (78.99,49.365,80.115,49.395), (62.07,49.7,87.23,50.7)])
R(comparator_stefan, psdm, [(64.155,31.805,64.255,35.795)])
comparator_stefan.add(gdstk.Reference(sky130_fd_pr__nfet_01v8_, (53.23,39.1)))
comparator_stefan.add(gdstk.Reference(c_sky130_fd_pr__nfet_01v8_, (55.93,43.35)))
comparator_stefan.add(gdstk.Reference(sky130_fd_pr__pfet_01v8_, (50.13,43.545)))
comparator_stefan.add(gdstk.Reference(c_sky130_fd_pr__pfet_01v8_, (53.03,48.245)))
comparator_stefan.add(gdstk.Reference(c_sky130_fd_pr__nfet_01v8__, (86.755,38.9)))
comparator_stefan.add(gdstk.Reference(c_sky130_fd_pr__nfet_01v8___, (80.88,39.1)))
comparator_stefan.add(gdstk.Reference(c_sky130_fd_pr__pfet_01v8__, (74.145,50.405), rotation=pi/2))
comparator_stefan.add(gdstk.Reference(c_sky130_fd_pr__pfet_01v8___, (80.88,44.695)))
comparator_stefan.add(gdstk.Reference(c_sky130_fd_pr__pfet_01v8___, (73.53,44.695)))
comparator_stefan.add(gdstk.Reference(c_sky130_fd_pr__nfet_01v8___, (73.68,39.1)))
comparator_stefan.add(gdstk.Reference(c_sky130_fd_pr__nfet_01v8___, (61.23,33.8)))
comparator_stefan.add(gdstk.Reference(c_sky130_fd_pr__nfet_01v8___, (67.18,33.8)))
comparator_stefan.add(gdstk.Reference(c_sky130_fd_pr__pfet_01v8____, (66.93,41.145)))
comparator_stefan.add(gdstk.Reference(c_sky130_fd_pr__pfet_01v8____, (61.63,41.145)))
comparator_stefan.add(gdstk.Reference(c_sky130_fd_pr__pfet_01v8_____, (64.28,49.695)))
comparator_stefan.add(gdstk.Label('pg2g', (77.175,47.025), layer=68, texttype=5))
comparator_stefan.add(gdstk.Label('G1', (59.3,38.25), layer=68, texttype=5))
comparator_stefan.add(gdstk.Label('p2p', (49.05,45.85), layer=68, texttype=5))
comparator_stefan.add(gdstk.Label('G2', (75.15,36.15), layer=69, texttype=5))
comparator_stefan.add(gdstk.Label('n2n', (57.4,41.075), layer=68, texttype=5))
comparator_stefan.add(gdstk.Label('inhigh', (66.825,47.05), layer=69, texttype=5))
comparator_stefan.add(gdstk.Label('mirhigh', (71.697,47.742), layer=68, texttype=5))
comparator_stefan.add(gdstk.Label('PLUS', (67,38.3), layer=68, texttype=5))
comparator_stefan.add(gdstk.Label('MINUS', (61.7,38.3), layer=68, texttype=5))
comparator_stefan.add(gdstk.Label('VCC', (49.75,52.05), layer=68, texttype=5))
comparator_stefan.add(gdstk.Label('VSS', (49.5,30.95), layer=68, texttype=5))
comparator_stefan.add(gdstk.Label('EN_N', (53.05,46.2), layer=68, texttype=5))
comparator_stefan.add(gdstk.Label('ADJ', (53.05,44.65), layer=68, texttype=5))
comparator_stefan.add(gdstk.Label('DIFFOUT', (77.555,44.15), layer=68, texttype=5))

lib.write_gds('comparator_stefan.gds')
